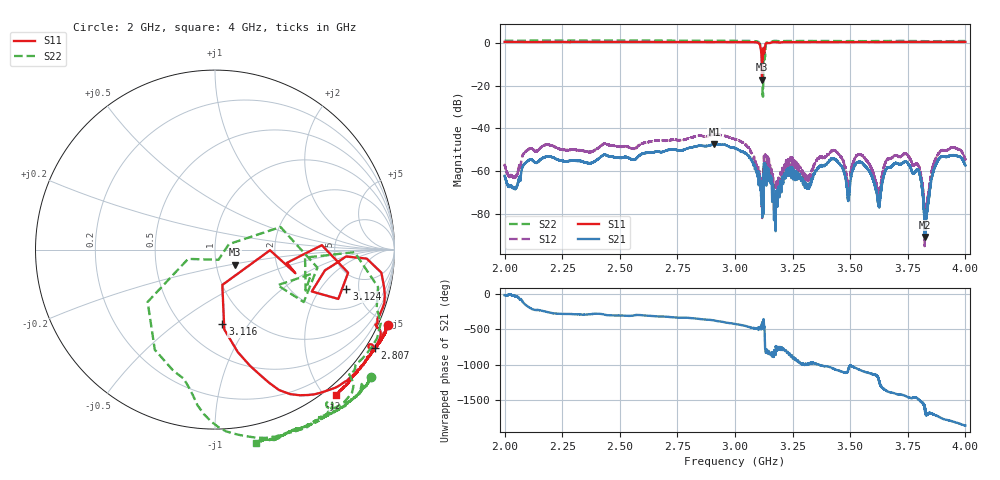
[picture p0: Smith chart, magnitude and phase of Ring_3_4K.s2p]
!Agilent Technologies,N5230C,SG49000117,A.08.50.07
!Agilent N5230C: A.08.50.07
!Date: Tuesday, May 07, 2024 00:30:55
!Correction: S11(Full 2 Port(1,2))
!S21(Full 2 Port(1,2))
!S12(Full 2 Port(1,2))
!S22(Full 2 Port(1,2))
!S2P File: Measurements: S11, S21, S12, S22:
# Hz S  MA  R 50
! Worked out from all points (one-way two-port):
!   20001 points, 2 GHz to 4 GHz, reference 50 ohm
!   highest |S21| = -47.24 dB at 2.911 GHz (marker M1); lowest = -90.7 dB at 3.825 GHz (marker M2)
!   lowest |S11| = -17.2 dB at 3.117 GHz (marker M3), VSWR 1.32, Z = 61.3 - j10.5 ohm
!   |S11| at or under -10 dB: 3.116166 GHz to 3.118041 GHz (1.875 MHz wide, 0.0601 % of centre)
!   |S22| runs from -25.5 to 1.1 dB; largest |S21 - S12| = 0.0039
!   S11 on the Smith chart (normalised r, x): 2 GHz: -0.59, -4.71; 2.807 GHz: -0.31, -3.50; 3.116 GHz: 0.75, -0.76; 3.124 GHz: 3.48, -3.65; 4 GHz: -0.15, -2.12
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2e9  1.051 -23.6  0.0007768 -21.7  0.001411 -39.7  1.123 -39.1
2.3334e9  1.058 -26.5  0.001712 64.7  0.00305 45.1  1.13 -44.1
2.6667e9  1.053 -29.6  0.002845 37.4  0.00522 13.7  1.129 -49.7
2.8069e9  1.047 -31.6  0.003552 14.9  0.006039 -8.2  1.123 -52.9
2.9109e9  1.045 -33.5  0.004345 -20.3  0.007252 -46.0  1.115 -56.2
3e9  1.045 -35.7  0.003465 -68.2  0.005575 -94.0  1.113 -59.6
3.1156e9  0.4184 -84.4  0.0004986 -127.6  0.0005214 -147.5  0.7074 -110.4
3.1172e9  0.1382 -37.5  0.0005404 -104.3  0.0005138 -112.6  0.6032 -127.9
3.1239e9  0.7637 -16.6  9.867e-05 -41.5  0.0001573 -45.2  0.5176 2.5
3.1421e9  0.9839 -22.8  0.0007583 -126.3  0.001349 -143.2  1.02 -37.4
3.1768e9  1.045 -30.1  7.058e-05 -38.8  0.000131 -53.2  1.112 -50.7
3.2314e9  1.045 -33.8  0.001186 -120.4  0.001953 -143.8  1.108 -56.4
3.3334e9  1.046 -37.2  0.0006519 103.4  0.001033 80.0  1.108 -61.2
3.4281e9  1.042 -38.8  0.001953 19.5  0.003083 -4.4  1.102 -64.1
3.492e9  1.043 -40.0  0.0002118 17.5  0.0003548 -20.2  1.099 -66.3
3.5445e9  1.046 -41.3  0.001641 0.1  0.002464 -27.1  1.095 -67.7
3.6234e9  1.043 -43.4  0.0001721 -127.2  0.0002651 -146.6  1.101 -69.8
3.6667e9  1.048 -44.1  0.001228 53.9  0.001957 27.2  1.102 -71.2
3.7928e9  1.052 -46.4  0.001079 -40.8  0.001459 -75.3  1.1 -74.4
3.8252e9  1.05 -46.9  2.906e-05 -173.0  8.331e-05 103.6  1.097 -75.1
3.8875e9  1.051 -48.1  0.002008 57.8  0.00274 29.9  1.095 -76.2
4e9  1.054 -50.4  0.001338 -58.6  0.001901 -88.5  1.102 -77.9
